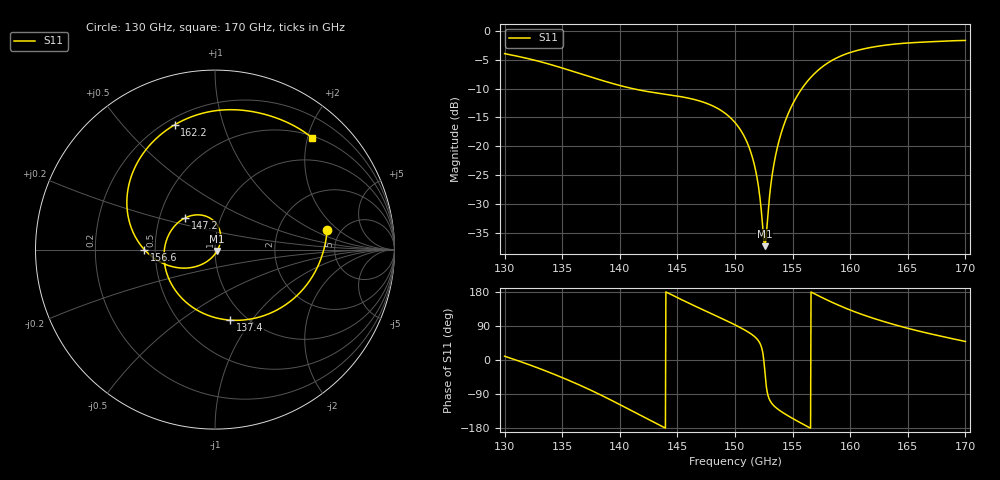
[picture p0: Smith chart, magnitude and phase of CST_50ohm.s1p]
! TOUCHSTONE file generated by CST MICROWAVE STUDIO
! Date and time: Thu Nov 19 18:45:39 2026
! Project name: H085_Delivery.cst
! Parameters = {array_spacing=1.12; eps_r=3.5; feed_width=0.1913; ground_length=1.5; ground_width=2.5; inset_gap=0.02; inset_length=0.165; junction_y=-0.405; launch_length=0.5; loss_tangent=0.0027; mesh_box=54; mesh_near=36; metal_thickness=0.002; patch_length=0.5102; patch_width=0.667; port_halfwid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
! Header version: 2024
! Port assignment regex: !\s*Touchstone port\s*([0-9]+)\s*=\s*(CST MWS port|CST DES external port|CST DES block port)\s*(.+)\s* \(\"(.*)\"\)(\s*mode\s*([0-9]+))?.*
! Touchstone port assignment:
! Touchstone port 1 = CST MWS port 1 ("50ohm_microstrip")
# GHz S RI R 50
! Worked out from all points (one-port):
!   1001 points, 130 GHz to 170 GHz, reference 50 ohm
!   lowest |S11| = -37.3 dB at 152.6 GHz (marker M1), VSWR 1.03, Z = 51.1 - j0.774 ohm
!   |S11| at or under -10 dB: 141.1 GHz to 155.8 GHz (14.71 GHz wide, 9.91 % of centre)
!   S11 on the Smith chart (normalised r, x): 130 GHz: 3.91, +1.44; 137.4 GHz: 0.84, -0.79; 147.2 GHz: 0.68, +0.25; 156.6 GHz: 0.44, -0.00; 162.2 GHz: 0.23, +0.70; 170 GHz: 0.54, +2.09
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130  0.625 0.1097
132.36  0.5453 -0.1455
135  0.3285 -0.3449
137.36  0.0839 -0.393
140  -0.1557 -0.298
142.48  -0.273 -0.1175
145  -0.2625 0.0723
147.16  -0.1666 0.1767
148.76  -0.073 0.1918
150  -0.00766 0.1604
150.92  0.0243 0.1129
151.6  0.0324 0.067
152  0.0291 0.0375
152.44  0.0177 0.00432
152.6  0.0114 -0.00756
152.76  0.00389 -0.0192
153.16  -0.0199 -0.0466
153.56  -0.0509 -0.0703
154.2  -0.1136 -0.0963
155  -0.2084 -0.1008
156.56  -0.393 -0.000575
158.24  -0.49 0.23
160  -0.4332 0.4833
162.24  -0.2239 0.6958
163.6  -0.0705 0.7594
165  0.0872 0.7796
167.4  0.3277 0.7384
170  0.5429 0.6213
